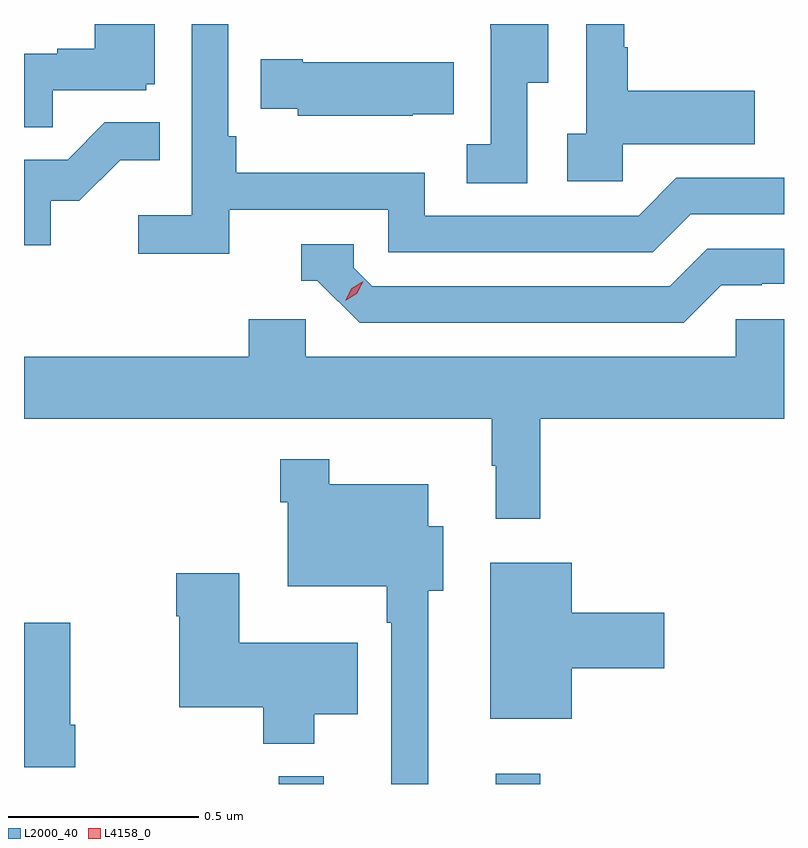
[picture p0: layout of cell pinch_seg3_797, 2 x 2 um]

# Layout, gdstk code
import gdstk
lib = gdstk.Library(unit=1e-6, precision=1e-09)
def R(c, l, rs):  # rectangles x0, y0, x1, y1
    for r in rs: c.add(gdstk.rectangle(r[:2], r[2:], *l))
def P(c, l, *ps):  # polygons
    for p in ps: c.add(gdstk.Polygon(p, *l))
L2000_40 = (2000, 40)
L4158_0 = (4158, 0)

pinch_seg3_797 = lib.new_cell('pinch_seg3_797')
R(pinch_seg3_797, L2000_40, [(820.063,723.931,820.181,723.952), (820.634,723.931,820.751,723.958)])
P(pinch_seg3_797, L2000_40, [(819.932,725.442),(820.35,725.442),(820.35,725.331),(821.047,725.331),(821.146,725.43),(821.392,725.43),(821.392,725.526),(821.109,725.526),(821.01,725.427),(820.446,725.427),(820.446,725.539),(819.95,725.539),(819.95,725.635),(819.93,725.635),(819.93,725.931),(819.834,725.931),(819.834,725.428),(819.693,725.428),(819.693,725.326),(819.932,725.326)],
  [(820.968,725.615),(821.315,725.615),(821.315,725.755),(820.981,725.755),(820.981,725.87),(820.971,725.87),(820.971,725.931),(820.872,725.931),(820.872,725.642),(820.821,725.642),(820.821,725.517),(820.968,725.517)],
  [(819.467,725.757),(819.714,725.757),(819.714,725.772),(819.736,725.772),(819.736,725.931),(819.578,725.931),(819.578,725.866),(819.479,725.866),(819.479,725.853),(819.392,725.853),(819.392,725.659),(819.467,725.659)],
  [(820.716,725.776),(820.771,725.776),(820.771,725.931),(820.619,725.931),(820.619,725.919),(820.62,725.919),(820.62,725.615),(820.557,725.615),(820.557,725.512),(820.716,725.512)],
  [(820.415,725.693),(820.523,725.693),(820.523,725.83),(820.126,725.83),(820.126,725.838),(820.015,725.838),(820.015,725.708),(820.113,725.708),(820.113,725.69),(820.415,725.69)],
  [(819.462,725.466),(819.538,725.466),(819.645,725.573),(819.749,725.573),(819.749,725.672),(819.605,725.672),(819.507,725.574),(819.392,725.574),(819.392,725.349),(819.462,725.349)],
  [(821.227,725.244),(821.334,725.244),(821.334,725.247),(821.392,725.247),(821.392,725.34),(821.19,725.34),(821.091,725.241),(820.308,725.241),(820.26,725.289),(820.26,725.352),(820.121,725.352),(820.121,725.256),(820.164,725.256),(820.275,725.145),(821.128,725.145)],
  [(820.751,724.892),(821.392,724.892),(821.392,725.154),(821.265,725.154),(821.265,725.056),(820.134,725.056),(820.134,725.154),(819.983,725.154),(819.983,725.056),(819.392,725.056),(819.392,724.892),(820.623,724.892),(820.623,724.769),(820.634,724.769),(820.634,724.629),(820.751,724.629)],
  [(820.456,724.439),(820.495,724.439),(820.495,724.609),(820.456,724.609),(820.456,724.72),(820.195,724.72),(820.195,724.786),(820.066,724.786),(820.066,724.673),(820.086,724.673),(820.086,724.451),(820.347,724.451),(820.347,724.355),(820.359,724.355),(820.359,723.931),(820.456,723.931)],
  [(820.834,724.235),(821.077,724.235),(821.077,724.382),(820.834,724.382),(820.834,724.513),(820.619,724.513),(820.619,724.103),(820.834,724.103)],
  [(820.156,724.115),(820.27,724.115),(820.27,724.303),(819.958,724.303),(819.958,724.486),(819.793,724.486),(819.793,724.373),(819.8,724.373),(819.8,724.133),(820.022,724.133),(820.022,724.037),(820.156,724.037)],
  [(819.527,724.087),(819.514,724.087),(819.514,724.356),(819.392,724.356),(819.392,723.975),(819.527,723.975)])
P(pinch_seg3_797, L4158_0, [(820.237,725.203),(820.237,725.203),(820.254,725.235),(820.285,725.254),(820.285,725.254),(820.285,725.254),(820.268,725.221),(820.237,725.203)])

lib.write_gds('pinch_seg3_797.gds')
